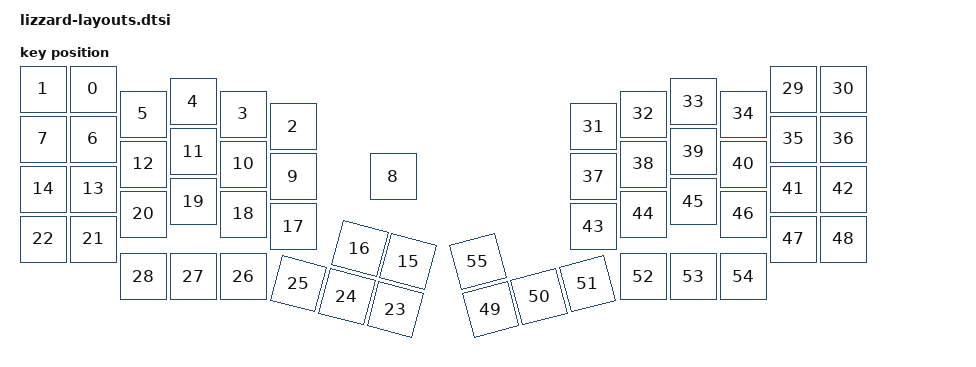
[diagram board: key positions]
#include <physical_layouts.dtsi>

/ {
    physical_layout_lizzard: physical_layout_lizzard {
        compatible = "zmk,physical-layout";
        display-name = "lizzard";
        keys  //                     w   h    x    y     rot    rx    ry
            = <&key_physical_attrs 100 100  500(-25)       0     0     0>
            , <&key_physical_attrs 100 100  400(-50)       0     0     0>
            , <&key_physical_attrs 100 100  300(-75)       0     0     0>
            , <&key_physical_attrs 100 100  200(-50)       0     0     0>
            , <&key_physical_attrs 100 100  100    0       0     0     0>
            , <&key_physical_attrs 100 100    0    0       0     0     0>
            , <&key_physical_attrs 100 100  500   75       0     0     0>
            , <&key_physical_attrs 100 100  400   50       0     0     0>
            , <&key_physical_attrs 100 100  300   25       0     0     0>
            , <&key_physical_attrs 100 100  200   50       0     0     0>
            , <&key_physical_attrs 100 100  100  100       0     0     0>
            , <&key_physical_attrs 100 100    0  100       0     0     0>
            , <&key_physical_attrs 100 100  700  175       0     0     0>
            , <&key_physical_attrs 100 100  500  175       0     0     0>
            , <&key_physical_attrs 100 100  400  150       0     0     0>
            , <&key_physical_attrs 100 100  300  125       0     0     0>
            , <&key_physical_attrs 100 100  200  150       0     0     0>
            , <&key_physical_attrs 100 100  100  200       0     0     0>
            , <&key_physical_attrs 100 100    0  200       0     0     0>
            , <&key_physical_attrs 100 100  700  275    1500   500   475>
            , <&key_physical_attrs 100 100  600  275    1500   500   475>
            , <&key_physical_attrs 100 100  500  275       0     0     0>
            , <&key_physical_attrs 100 100  400  250       0     0     0>
            , <&key_physical_attrs 100 100  300  225       0     0     0>
            , <&key_physical_attrs 100 100  200  250       0     0     0>
            , <&key_physical_attrs 100 100  100  300       0     0     0>
            , <&key_physical_attrs 100 100    0  300       0     0     0>
            , <&key_physical_attrs 100 100  700  375    1500   500   475>
            , <&key_physical_attrs 100 100  600  375    1500   500   475>
            , <&key_physical_attrs 100 100  500  375    1500   500   475>
            , <&key_physical_attrs 100 100  400  375       0     0     0>
            , <&key_physical_attrs 100 100  300  375       0     0     0>
            , <&key_physical_attrs 100 100  200  375       0     0     0>
            , <&key_physical_attrs 100 100 1100(-25)       0     0     0>
            , <&key_physical_attrs 100 100 1200(-50)       0     0     0>
            , <&key_physical_attrs 100 100 1300(-75)       0     0     0>
            , <&key_physical_attrs 100 100 1400(-50)       0     0     0>
            , <&key_physical_attrs 100 100 1500    0       0     0     0>
            , <&key_physical_attrs 100 100 1600    0       0     0     0>
            , <&key_physical_attrs 100 100 1100   75       0     0     0>
            , <&key_physical_attrs 100 100 1200   50       0     0     0>
            , <&key_physical_attrs 100 100 1300   25       0     0     0>
            , <&key_physical_attrs 100 100 1400   50       0     0     0>
            , <&key_physical_attrs 100 100 1500  100       0     0     0>
            , <&key_physical_attrs 100 100 1600  100       0     0     0>
            , <&key_physical_attrs 100 100 1100  175       0     0     0>
            , <&key_physical_attrs 100 100 1200  150       0     0     0>
            , <&key_physical_attrs 100 100 1300  125       0     0     0>
            , <&key_physical_attrs 100 100 1400  150       0     0     0>
            , <&key_physical_attrs 100 100 1500  200       0     0     0>
            , <&key_physical_attrs 100 100 1600  200       0     0     0>
            , <&key_physical_attrs 100 100 1100  275       0     0     0>
            , <&key_physical_attrs 100 100 1200  250       0     0     0>
            , <&key_physical_attrs 100 100 1300  225       0     0     0>
            , <&key_physical_attrs 100 100 1400  250       0     0     0>
            , <&key_physical_attrs 100 100 1500  300       0     0     0>
            , <&key_physical_attrs 100 100 1600  300       0     0     0>
            , <&key_physical_attrs 100 100  900  375 (-1500)  1200   475>
            , <&key_physical_attrs 100 100 1000  375 (-1500)  1200   475>
            , <&key_physical_attrs 100 100 1100  375 (-1500)  1200   475>
            , <&key_physical_attrs 100 100 1200  375       0     0     0>
            , <&key_physical_attrs 100 100 1300  375       0     0     0>
            , <&key_physical_attrs 100 100 1400  375       0     0     0>
            , <&key_physical_attrs 100 100  900  275 (-1500)  1200   475>
            ;
    };
};
